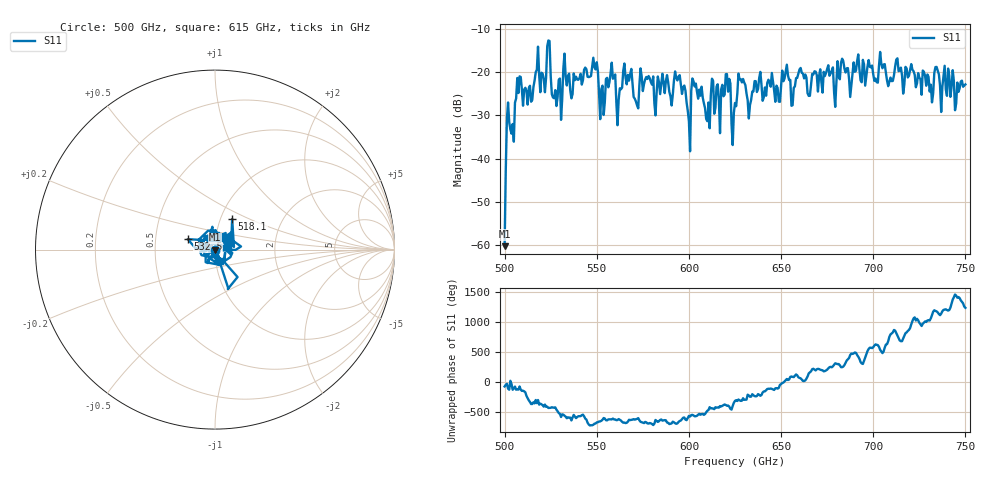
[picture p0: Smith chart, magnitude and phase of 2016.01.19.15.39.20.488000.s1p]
!Created with skrf (http://scikit-rf.org).
# GHz S RI R 50.0
!freq ReS11 ImS11
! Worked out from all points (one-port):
!   401 points, 500 GHz to 750 GHz, reference 50 ohm
!   lowest |S11| = -60.2 dB at 500 GHz (marker M1), VSWR 1.00, Z = 50 - j0.0933 ohm
!   |S11| at or under -10 dB: start of sweep to end of sweep
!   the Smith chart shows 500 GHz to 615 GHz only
!   S11 on the Smith chart (normalised r, x): 500 GHz: 1.00, -0.00; 518.1 GHz: 1.14, +0.40; 532.5 GHz: 0.73, +0.09; 615 GHz: 1.05, -0.13
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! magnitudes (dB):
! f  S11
! 500 GHz  -60.2
! 502.5 GHz  -31.6
! 507.5 GHz  -24.9
! 518.1 GHz  -14.2
! 523.8 GHz  -12.7
! 526.9 GHz  -26.1
! 531.2 GHz  -26.2
! 532.5 GHz  -15.8
! 548.8 GHz  -18.9
! 553.1 GHz  -23.2
! 558.8 GHz  -21.6
! 562.5 GHz  -23.8
! 565.6 GHz  -21.3
! 571.2 GHz  -26.8
! 593.8 GHz  -22.0
! 599.4 GHz  -29.0
! 602.5 GHz  -22.2
! 610 GHz  -31.4
! 615 GHz  -23.4
! 621.2 GHz  -24.6
! 625 GHz  -27.2
! 628.1 GHz  -21.7
! 632.5 GHz  -30.7
! 651.9 GHz  -21.5
! 656.2 GHz  -27.7
! 687.5 GHz  -25.8
! 718.8 GHz  -21.3
! 750 GHz  -22.9
